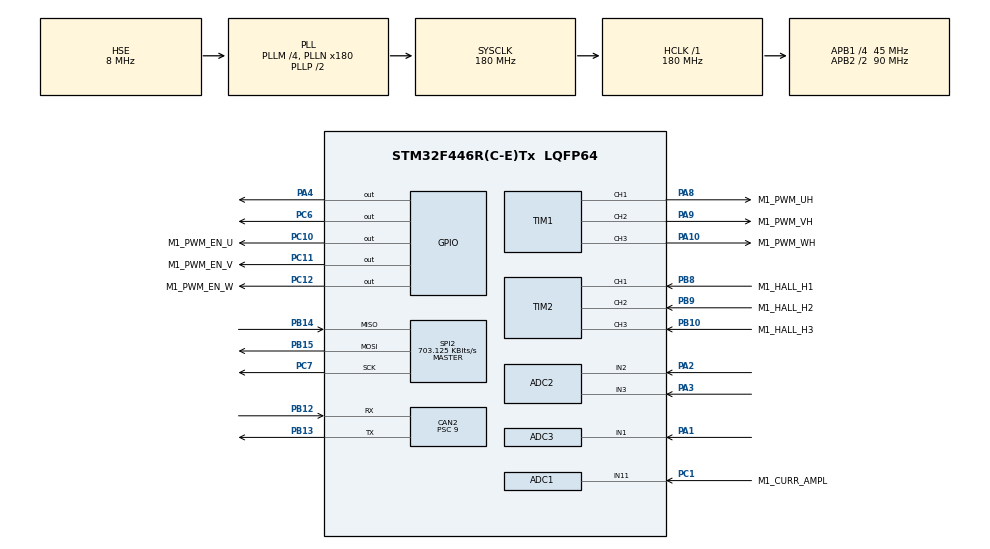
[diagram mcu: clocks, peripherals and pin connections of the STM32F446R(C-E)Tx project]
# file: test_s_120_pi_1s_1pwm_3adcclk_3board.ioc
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ADC1.Channel-1\#ChannelInjectedConversion=ADC_CHANNEL_11
ADC1.Channel-1\#ChannelRegularConversion=ADC_CHANNEL_11
ADC1.Channel-2\#ChannelInjectedConversion=ADC_CHANNEL_11
ADC1.ClockPrescaler=ADC_CLOCK_SYNC_PCLK_DIV4
ADC1.ContinuousConvMode=DISABLE
ADC1.DMAContinuousRequests=DISABLE
ADC1.DataAlign=ADC_DATAALIGN_LEFT
ADC1.DiscontinuousConvMode=DISABLE
ADC1.EOCSelection=ADC_EOC_SINGLE_CONV
ADC1.EnableAnalogWatchDog=false
ADC1.EnableInjectedConversion=ENABLE
ADC1.EnableRegularConversion=ENABLE
ADC1.ExternalTrigConv=ADC_SOFTWARE_START
ADC1.ExternalTrigConvEdge=ADC_EXTERNALTRIGCONVEDGE_NONE
ADC1.ExternalTrigInjecConv=ADC_EXTERNALTRIGINJECCONV_T4_TRGO
ADC1.ExternalTrigInjecConvEdge=ADC_EXTERNALTRIGINJECCONVEDGE_RISING
ADC1.InjNumberOfConversion=2
ADC1.InjectedConvMode=Discontinuous
ADC1.InjectedOffset-1\#ChannelInjectedConversion=0
ADC1.InjectedOffset-2\#ChannelInjectedConversion=0
ADC1.InjectedRank-1\#ChannelInjectedConversion=1
ADC1.InjectedRank-2\#ChannelInjectedConversion=2
ADC1.NbrOfConversion=1
ADC1.NbrOfConversionFlag=1
ADC1.Rank-1\#ChannelRegularConversion=1
ADC1.Resolution=ADC_RESOLUTION_12B
ADC1.SamplingTime-1\#ChannelInjectedConversion=ADC_SAMPLETIME_3CYCLES
ADC1.SamplingTime-1\#ChannelRegularConversion=ADC_SAMPLETIME_3CYCLES
ADC1.SamplingTime-2\#ChannelInjectedConversion=ADC_SAMPLETIME_3CYCLES
ADC1.ScanConvMode=ENABLE
ADC1.master=1
ADC2.Channel-0\#ChannelRegularConversion=ADC_CHANNEL_2
ADC2.Channel-1\#ChannelRegularConversion=ADC_CHANNEL_3
ADC2.NbrOfConversion=2
ADC2.NbrOfConversionFlag=1
ADC2.Rank-0\#ChannelRegularConversion=1
ADC2.Rank-1\#ChannelRegularConversion=2
ADC2.SamplingTime-0\#ChannelRegularConversion=ADC_SAMPLETIME_56CYCLES
ADC2.SamplingTime-1\#ChannelRegularConversion=ADC_SAMPLETIME_56CYCLES
ADC3.Channel-0\#ChannelRegularConversion=ADC_CHANNEL_1
ADC3.DataAlign=ADC_DATAALIGN_LEFT
ADC3.NbrOfConversionFlag=1
ADC3.Rank-0\#ChannelRegularConversion=1
ADC3.SamplingTime-0\#ChannelRegularConversion=ADC_SAMPLETIME_28CYCLES
ADC3.ScanConvMode=ENABLE
CAN2.BS1=CAN_BS1_14TQ
CAN2.BS2=CAN_BS2_5TQ
CAN2.CalculateBaudRate=250000
CAN2.CalculateTimeBit=4000
CAN2.CalculateTimeQuantum=200.0
CAN2.NART=ENABLE
CAN2.Prescaler=9
Dma.Request0=TIM1_CH4/TRIG/COM
Dma.Request1=TIM1_UP
Dma.TIM1_CH4/TRIG/COM.0.Direction=DMA_MEMORY_TO_PERIPH
Dma.TIM1_CH4/TRIG/COM.0.FIFOMode=DMA_FIFOMODE_DISABLE
Dma.TIM1_CH4/TRIG/COM.0.Instance=DMA2_Stream4
Dma.TIM1_CH4/TRIG/COM.0.MemDataAlignment=DMA_MDATAALIGN_HALFWORD
Dma.TIM1_CH4/TRIG/COM.0.MemInc=DMA_MINC_ENABLE
Dma.TIM1_CH4/TRIG/COM.0.Mode=DMA_CIRCULAR
Dma.TIM1_CH4/TRIG/COM.0.PeriphDataAlignment=DMA_PDATAALIGN_HALFWORD
Dma.TIM1_CH4/TRIG/COM.0.PeriphInc=DMA_PINC_DISABLE
Dma.TIM1_CH4/TRIG/COM.0.Priority=DMA_PRIORITY_HIGH
Dma.TIM1_UP.1.Direction=DMA_MEMORY_TO_PERIPH
Dma.TIM1_UP.1.FIFOMode=DMA_FIFOMODE_DISABLE
Dma.TIM1_UP.1.Instance=DMA2_Stream5
Dma.TIM1_UP.1.MemDataAlignment=DMA_MDATAALIGN_HALFWORD
Dma.TIM1_UP.1.MemInc=DMA_MINC_ENABLE
Dma.TIM1_UP.1.Mode=DMA_CIRCULAR
Dma.TIM1_UP.1.PeriphDataAlignment=DMA_PDATAALIGN_HALFWORD
Dma.TIM1_UP.1.PeriphInc=DMA_PINC_DISABLE
Dma.TIM1_UP.1.Priority=DMA_PRIORITY_HIGH
ExtraMW=MotorControl
ExtraMW.MotorControl.Config=MotorControl
ExtraMW.MotorControl.Mode=MotorControl
ExtraMW.MotorControl.Root=MCSDK_v6.3.2-Full/MotorControl
ExtraMW.MotorControl.Template=templates
Mcu.Family=STM32F4
Mcu.Name=STM32F446R(C-E)Tx
Mcu.Package=LQFP64
MotorControl.ADC_AHBPERIPH=RCC_AHBPeriph_ADC1
MotorControl.ADC_CLOCK_WB_DIV=1
MotorControl.ADC_PERIPH=ADC1
MotorControl.ADC_REFERENCE_VOLTAGE=3.3
MotorControl.BOARD=NUCLEO-F446RE
MotorControl.BUS_VOLTAGE_READING=false
MotorControl.CCMRAM_ENABLED=false
MotorControl.CLOCK_FREQUENCY=CPU_CLK_180_MHZ
MotorControl.CLOCK_SOURCE=EXTERNAL
MotorControl.CPU_CLK_180_MHZ=true
MotorControl.CTLBOARD_NAME=NUCLEO-F446RE
MotorControl.CUBE_MX_VER=6.14.0
MotorControl.CURRENT_READING_TOPOLOGY=SINGLE_SHUNT
MotorControl.CURR_SAMPLING_TIME=3
MotorControl.DBG_MCU_LOAD_MEASURE=false
MotorControl.DEBUG_DAC_FUNCTIONALITY_EN=false
MotorControl.DRIVES_NUMBER_SELECTION=SINGLEDRIVE
MotorControl.DRIVE_NUMBER=1
MotorControl.DRIVE_TYPE=FOC
MotorControl.ENCODER_AVAILABLE=false
MotorControl.ENCODER_PPR=400
MotorControl.EXT_CLK_8_MHZ=true
MotorControl.EXT_CLOCK_FREQUENCY=EXT_CLK_8_MHZ
MotorControl.FEEDBACK_NET_FILTERING=false
MotorControl.FLASH_SIZE=512
MotorControl.H1_GPIO_PIN=LL_GPIO_PIN_15
MotorControl.H1_GPIO_PORT=GPIOA
MotorControl.H2_GPIO_PIN=LL_GPIO_PIN_3
MotorControl.H2_GPIO_PORT=GPIOB
MotorControl.H3_GPIO_PIN=LL_GPIO_PIN_10
MotorControl.H3_GPIO_PORT=GPIOB
MotorControl.HALL_ICx_FILTER=126
MotorControl.HALL_SENSORS=true
MotorControl.HALL_SENSORS_AVAILABLE=true
MotorControl.HALL_TIMER_SELECTION=HALL_TIM2
MotorControl.HIGH_SIDE_IDLE_STATE=false
MotorControl.HWV_CS=SingleShunt_AmplifiedCurrents
MotorControl.HWV_PWM=DrivingHighSidesAndThreeEnables
MotorControl.HW_COMPLEMENTED_LOW_SIDE=true
MotorControl.HW_DEAD_TIME_NS=1000
MotorControl.IPs=NVIC,RCC,SYS,MotorControl,ADC1,TIM1,TIM2,DMA
MotorControl.LOW_MEMORY_FOOTPRINT_REG=false
MotorControl.LOW_SIDE_IDLE_STATE=false
MotorControl.LOW_SIDE_SIGNALS_ENABLING=ES_GPIO
MotorControl.M1_AMPLIFICATION_GAIN=1.53
MotorControl.M1_ANGC={0,0,0,0,0,0,0,0}
MotorControl.M1_AUXILIARY_SPEED_SENSOR=NONE
MotorControl.M1_BOARD_MAX_CURRENT=1.4
MotorControl.M1_BUS_VOLTAGE_READING=false
MotorControl.M1_COMMUTATION_STEP_TIME_BUF_SIZE=12
MotorControl.M1_CONSTANT1_D=13418
MotorControl.M1_CONSTANT1_Q=13418
MotorControl.M1_CONSTANT2_QD=28405
MotorControl.M1_CS_ADC_NUM=1
MotorControl.M1_CS_ADC_PHASE_SHARED=NONE
MotorControl.M1_CS_ADC_U=ADC1
MotorControl.M1_CS_CHANNEL_U=11
MotorControl.M1_CURRENT_AMPLIFICATION_TOPO=EXTERNAL
MotorControl.M1_CURRENT_SENSING_TOPO=SINGLE_SHUNT_PHASE_SHIFT
MotorControl.M1_CURR_SAMPLING_TIME=3
MotorControl.M1_DBG_OPEN_LOOP_ENABLE=false
MotorControl.M1_DC_CURRENT_RS_MEAS=1.4
MotorControl.M1_DEFAULT_CONTROL_MODE=STC_SPEED_MODE
MotorControl.M1_DEFAULT_FLUX_COMPONENT=0
MotorControl.M1_DEFAULT_TARGET_SPEED_RPM=1440
MotorControl.M1_DEFAULT_TORQUE_COMPONENT=0.85
MotorControl.M1_DISCONTINUOUS_PWM=false
MotorControl.M1_DP_TOPOLOGY=NONE
MotorControl.M1_DRIVE_TYPE=FOC
MotorControl.M1_ENCODER_PPR=400
MotorControl.M1_FEED_FORWARD_CURRENT_REG_ENABLING=false
MotorControl.M1_FLUX_WEAKENING_ENABLING=false
MotorControl.M1_FW_KIDIV=32768
MotorControl.M1_FW_KI_GAIN=5000
MotorControl.M1_FW_KPDIV=32768
MotorControl.M1_FW_KP_GAIN=3000
MotorControl.M1_FW_VOLTAGE_REF=985
MotorControl.M1_HALL_AVERAGING_FIFO_DEPTH=16
MotorControl.M1_HALL_ICx_FILTER=126
MotorControl.M1_HALL_MTPA=false
MotorControl.M1_HALL_PHASE_SHIFT=120
MotorControl.M1_HALL_SENSORS_PLACEMENT=DEGREES_120
MotorControl.M1_HALL_TIMER_IRQ=TIM2
MotorControl.M1_HALL_TIMER_SELECTION=HALL_TIM2
MotorControl.M1_HIGH_SIDE_IDLE_STATE=false
MotorControl.M1_HW_DEAD_TIME_NS=1000
MotorControl.M1_ICL_ENABLED=false
MotorControl.M1_ID_DEMAG=-1.4
MotorControl.M1_IQMAX=1.4
MotorControl.M1_LDLQ_RATIO=1.000
MotorControl.M1_LOW_SIDE_IDLE_STATE=false
MotorControl.M1_LOW_SIDE_SIGNALS_ENABLING=ES_GPIO
MotorControl.M1_LS=0.000126
MotorControl.M1_MAX_APPLICATION_SPEED=6200
MotorControl.M1_MAX_MODULATION_INDEX=94
MotorControl.M1_MIN_APPLICATION_SPEED=0
MotorControl.M1_MOTOR_MAX_SPEED_RPM=6200
MotorControl.M1_MOTOR_NAME=Shinano LA052-080E3NL1
MotorControl.M1_MOTOR_RATED_FLUX=0.043870361
MotorControl.M1_MOTOR_VOLTAGE_CONSTANT=1.8
MotorControl.M1_MTPA_ENABLING=false
MotorControl.M1_NOMINAL_BUS_VOLTAGE_V=24
MotorControl.M1_NOMINAL_CURRENT=1.4
MotorControl.M1_OCP_TOPOLOGY=NONE
MotorControl.M1_OFST={0,0,0,0,0,0,0,0}
MotorControl.M1_OVERMODULATION=false
MotorControl.M1_PID_FLUX_KD_DEFAULT=100
MotorControl.M1_PID_FLUX_KI_DEFAULT=175
MotorControl.M1_PID_FLUX_KP_DEFAULT=2500
MotorControl.M1_PID_SPEED_KD_DEFAULT=0
MotorControl.M1_PID_SPEED_KI_DEFAULT=100
MotorControl.M1_PID_SPEED_KP_DEFAULT=50
MotorControl.M1_PID_TORQUE_KD_DEFAULT=100
MotorControl.M1_PID_TORQUE_KI_DEFAULT=175
MotorControl.M1_PID_TORQUE_KP_DEFAULT=2500
MotorControl.M1_POLE_PAIR_NUM=2
MotorControl.M1_POSITION_CTRL_ENABLING=false
MotorControl.M1_POTENTIOMETER_ENABLE=false
MotorControl.M1_POWERBOARD_NAME=X-NUCLEO-IHM07M1
MotorControl.M1_PWM_CHARGE_BOOT_CAP_DUTY_CYCLES=0.000
MotorControl.M1_PWM_CHARGE_BOOT_CAP_MS=10
MotorControl.M1_PWM_DRIVER_PN=L6230
MotorControl.M1_PWM_FREQUENCY=20000
MotorControl.M1_PWM_TIMER_BRK_IRQ=TIM1_BRK_TIM9
MotorControl.M1_PWM_TIMER_SELECTION=PWM_TIM1
MotorControl.M1_PWM_TIMER_UP_IRQ=TIM1_UP_TIM10
MotorControl.M1_REGULATION_EXECUTION_RATE=1
MotorControl.M1_RS=3.02
MotorControl.M1_RSHUNT=0.33
MotorControl.M1_SEGDIV=0
MotorControl.M1_SHARED_SIGNAL_ENABLE=false
MotorControl.M1_SPD_DIFFERENTIAL_TERM_ENABLING=false
MotorControl.M1_SPEED_LOOP_FREQUENCY_HZ=1000
MotorControl.M1_SPEED_SENSOR=HALL_SENSOR
MotorControl.M1_SP_KDDIV=16
MotorControl.M1_SP_KIDIV=1024
MotorControl.M1_SP_KPDIV=4
MotorControl.M1_SS_MEAS_ERRORS_BEFORE_FAULTS=3
MotorControl.M1_SW_DEADTIME_NS=1000
MotorControl.M1_TEMPERATURE_READING=false
MotorControl.M1_TF_KDDIV=8192
MotorControl.M1_TF_KIDIV=4096
MotorControl.M1_TF_KPDIV=16384
MotorControl.M1_TNOISE_NS=700
MotorControl.M1_TRISE_NS=1800
MotorControl.M1_USE_INTERNAL_OPAMP=false
MotorControl.MAX_READABLE_CURRENT=3.272
MotorControl.MCP_EN=false
MotorControl.MCU=STM32F446RE
MotorControl.MCU_FAMILY=STM32F4
MotorControl.MCU_LINE=STM32F446
MotorControl.MCU_NAME=STM32F446R(C-E)Tx
MotorControl.MCU_PACKAGE=LQFP64
MotorControl.MCU_TYPE=STM32F446RE
MotorControl.MCU_USERNAME=STM32F446RETx
MotorControl.MC_WORKBENCH_VERSION=6.3.2
MotorControl.MOTOR_PROFILER=false
MotorControl.MOTOR_TYPE=PMSM
MotorControl.PHASE_CURRENTS_ADC=ADC1
MotorControl.PHASE_CURRENTS_CHANNEL=ADC_CHANNEL_11
MotorControl.PHASE_CURRENTS_GPIO_PIN=LL_GPIO_PIN_1
MotorControl.PHASE_CURRENTS_GPIO_PORT=GPIOC
MotorControl.PHASE_UH_GPIO_PIN=LL_GPIO_PIN_8
MotorControl.PHASE_UH_GPIO_PORT=GPIOA
MotorControl.PHASE_UH_POLARITY=H_ACTIVE_HIGH
MotorControl.PHASE_UL_GPIO_PIN=LL_GPIO_PIN_10
MotorControl.PHASE_UL_GPIO_PORT=GPIOC
MotorControl.PHASE_UL_POLARITY=L_ACTIVE_HIGH
MotorControl.PHASE_U_PWM_CHANNEL=TIM_Channel_1
MotorControl.PHASE_VH_GPIO_PIN=LL_GPIO_PIN_9
MotorControl.PHASE_VH_GPIO_PORT=GPIOA
MotorControl.PHASE_VH_POLARITY=H_ACTIVE_HIGH
MotorControl.PHASE_VL_GPIO_PIN=LL_GPIO_PIN_11
MotorControl.PHASE_VL_GPIO_PORT=GPIOC
MotorControl.PHASE_VL_POLARITY=L_ACTIVE_HIGH
MotorControl.PHASE_V_PWM_CHANNEL=TIM_Channel_2
MotorControl.PHASE_WH_GPIO_PIN=LL_GPIO_PIN_10
MotorControl.PHASE_WH_GPIO_PORT=GPIOA
MotorControl.PHASE_WH_POLARITY=H_ACTIVE_HIGH
MotorControl.PHASE_WL_GPIO_PIN=LL_GPIO_PIN_12
MotorControl.PHASE_WL_GPIO_PORT=GPIOC
MotorControl.PHASE_WL_POLARITY=L_ACTIVE_HIGH
MotorControl.PHASE_W_PWM_CHANNEL=TIM_Channel_3
MotorControl.POTENTIOMETER_READING=false
MotorControl.PWM_FREQUENCY=20000
MotorControl.PWM_TIMER_SELECTION=PWM_TIM1
MotorControl.REGULATION_EXECUTION_RATE=1
MotorControl.RTOS=NONE
MotorControl.SINGLEDRIVE=true
MotorControl.SINGLE_SHUNT=true
MotorControl.SPD_DIFFERENTIAL_TERM_ENABLING=false
MotorControl.SPEED_SENSOR_SELECTION=HALL_SENSORS
MotorControl.START_STOP_BTN=false
MotorControl.STM32F446RE=true
MotorControl.SW_DEADTIME_NS=1000
MotorControl.TEMPERATURE_READING=false
MotorControl.TFDIFFERENTIAL_TERM_ENABLING=false
MotorControl.TRISE_NS=1800
MotorControl.USE_3OPAMPS=false
MotorControl.USE_INTERNAL_OPAMP=false
MotorControl.WB_UI_CUTOFF_FREQUENCY=6000
MotorControl.WB_UI_ENCODER_HAS_INDEX_PIN=false
MotorControl.WB_UI_FLUX_TARGET=0
MotorControl.WB_UI_FRICTION=8
MotorControl.WB_UI_INERTIA=10
MotorControl.WB_UI_MAGNETIC_STRUCTURE=SM-PMSM
MotorControl.WB_UI_MAX_CURRENT=1.4
MotorControl.WB_UI_MAX_NOMINAL_DC_VOLTAGE=24
MotorControl.WB_UI_MAX_PWMFREQUENCY=100000
MotorControl.WB_UI_MOTOR_DESCRIPTION=Inner rotor type - 2 poles pairs - brushless DC motor with encoder
MotorControl.WB_UI_PW_BOARD_MAX_RATED_CURRENT=2.8
MotorControl.WB_UI_PW_BOARD_MAX_VOLTAGE=48
MotorControl.WB_UI_PW_BOARD_MIN_VOLTAGE=8
MotorControl.WB_UI_VPOL=1.559
MotorControl.WB_to_Mx_template_version=24-04-17
MotorControl.WB_to_Mx_version=6.2.3
NVIC.ADC_IRQn=true\:2\:0\:true\:true\:false\:3\:false\:true\:true
NVIC.CAN2_RX0_IRQn=true\:0\:0\:false\:true\:true\:7\:true\:true\:true
NVIC.DMA2_Stream4_IRQn=true\:0\:0\:true\:true\:false\:1\:true\:true\:true
NVIC.DMA2_Stream5_IRQn=true\:0\:0\:true\:true\:false\:2\:true\:true\:true
NVIC.PriorityGroup=NVIC_PRIORITYGROUP_3
NVIC.SPI2_IRQn=true\:0\:0\:false\:false\:true\:true\:true\:true
NVIC.TIM1_BRK_TIM9_IRQn=true\:4\:1\:false\:true\:false\:5\:true\:true\:true
NVIC.TIM1_UP_TIM10_IRQn=true\:0\:0\:false\:true\:false\:4\:true\:true\:true
NVIC.TIM2_IRQn=true\:3\:0\:false\:true\:false\:6\:true\:true\:true
NVIC.TIM6_DAC_IRQn=true\:0\:0\:false\:false\:true\:true\:true\:true
NVIC.TIM8_TRG_COM_TIM14_IRQn=true\:0\:0\:false\:false\:true\:true\:true\:true
PA1.Signal=ADCx_IN1
PA10.GPIO_Label=M1_PWM_WH
PA10.GPIO_PuPd=GPIO_PULLDOWN
PA10.GPIO_Speed=GPIO_SPEED_FREQ_HIGH
PA10.Signal=S_TIM1_CH3
PA13.Mode=Serial_Wire
PA13.Signal=SYS_JTMS-SWDIO
PA14.Mode=Serial_Wire
PA14.Signal=SYS_JTCK-SWCLK
PA2.Signal=ADCx_IN2
PA3.Signal=ADCx_IN3
PA4.GPIO_ModeDefaultOutputPP=GPIO_MODE_OUTPUT_OD
PA4.GPIO_PuPd=GPIO_NOPULL
PA4.Signal=GPIO_Output
PA8.GPIO_Label=M1_PWM_UH
PA8.GPIO_PuPd=GPIO_PULLDOWN
PA8.GPIO_Speed=GPIO_SPEED_FREQ_HIGH
PA8.Signal=S_TIM1_CH1
PA9.GPIO_Label=M1_PWM_VH
PA9.GPIO_PuPd=GPIO_PULLDOWN
PA9.GPIO_Speed=GPIO_SPEED_FREQ_HIGH
PA9.Signal=S_TIM1_CH2
PB10.GPIO_Label=M1_HALL_H3
PB10.GPIO_Speed=GPIO_SPEED_FREQ_HIGH
PB10.Signal=S_TIM2_CH3
PB12.Mode=CAN_Activate
PB12.Signal=CAN2_RX
PB13.Mode=CAN_Activate
PB13.Signal=CAN2_TX
PB14.Mode=Full_Duplex_Master
PB14.Signal=SPI2_MISO
PB15.Mode=Full_Duplex_Master
PB15.Signal=SPI2_MOSI
PB8.GPIO_Label=M1_HALL_H1
PB8.GPIO_Speed=GPIO_SPEED_FREQ_HIGH
PB8.Signal=S_TIM2_CH1_ETR
PB9.GPIO_Label=M1_HALL_H2
PB9.GPIO_Speed=GPIO_SPEED_FREQ_HIGH
PB9.Signal=S_TIM2_CH2
PC1.GPIO_Label=M1_CURR_AMPL
PC1.Signal=SharedAnalog_PC1
PC10.GPIO_Label=M1_PWM_EN_U
PC10.GPIO_PuPd=GPIO_PULLDOWN
PC10.GPIO_Speed=GPIO_SPEED_FREQ_HIGH
PC10.Signal=GPIO_Output
PC11.GPIO_Label=M1_PWM_EN_V
PC11.GPIO_PuPd=GPIO_PULLDOWN
PC11.GPIO_Speed=GPIO_SPEED_FREQ_HIGH
PC11.Signal=GPIO_Output
PC12.GPIO_Label=M1_PWM_EN_W
PC12.GPIO_PuPd=GPIO_PULLDOWN
PC12.GPIO_Speed=GPIO_SPEED_FREQ_HIGH
PC12.Signal=GPIO_Output
PC14-OSC32_IN.Mode=LSE-External-Oscillator
PC14-OSC32_IN.Signal=RCC_OSC32_IN
PC15-OSC32_OUT.Mode=LSE-External-Oscillator
PC15-OSC32_OUT.Signal=RCC_OSC32_OUT
PC6.Signal=GPIO_Output
PC7.Mode=Full_Duplex_Master
PC7.Signal=SPI2_SCK
PH0-OSC_IN.Mode=HSE-External-Oscillator
PH0-OSC_IN.Signal=RCC_OSC_IN
PH1-OSC_OUT.Mode=HSE-External-Oscillator
PH1-OSC_OUT.Signal=RCC_OSC_OUT
ProjectManager.HeapSize=0x200
ProjectManager.StackSize=0x400
ProjectManager.TargetToolchain=STM32CubeIDE
RCC.AHBFreq_Value=180000000
RCC.APB1CLKDivider=RCC_HCLK_DIV4
RCC.APB1Freq_Value=45000000
RCC.APB1TimFreq_Value=90000000
RCC.APB2CLKDivider=RCC_HCLK_DIV2
RCC.APB2Freq_Value=90000000
RCC.APB2TimFreq_Value=180000000
RCC.CortexFreq_Value=180000000
RCC.HCLKFreq_Value=180000000
RCC.HSE_VALUE=8000000
RCC.PLLM=4
RCC.PLLN=180
RCC.PLLSourceVirtual=RCC_PLLSOURCE_HSE
RCC.PREFETCH_ENABLE=1
RCC.SYSCLKFreq_VALUE=180000000
RCC.SYSCLKSource=RCC_SYSCLKSOURCE_PLLCLK
RCC.USBFreq_Value=180000000
RCC.VCOOutputFreq_Value=360000000
SH.ADCx_IN1.0=ADC3_IN1,IN1
SH.ADCx_IN2.0=ADC2_IN2,IN2
SH.ADCx_IN3.0=ADC2_IN3,IN3
SH.S_TIM1_CH1.0=TIM1_CH1,PWM Generation1 CH1
SH.S_TIM1_CH2.0=TIM1_CH2,PWM Generation2 CH2
SH.S_TIM1_CH3.0=TIM1_CH3,PWM Generation3 CH3
SH.S_TIM2_CH1_ETR.0=TIM2_CH1,Xored_Inputs_Hall_Sensor_Interface
SH.S_TIM2_CH2.0=TIM2_CH2,Xored_Inputs_Hall_Sensor_Interface
SH.S_TIM2_CH3.0=TIM2_CH3,Xored_Inputs_Hall_Sensor_Interface
SH.SharedAnalog_PC1.0=ADC1_IN11,IN11
SPI2.BaudRatePrescaler=SPI_BAUDRATEPRESCALER_64
SPI2.CLKPhase=SPI_PHASE_2EDGE
SPI2.CLKPolarity=SPI_POLARITY_HIGH
SPI2.CalculateBaudRate=703.125 KBits/s
SPI2.Direction=SPI_DIRECTION_2LINES
SPI2.Mode=SPI_MODE_MASTER
SPI2.VirtualType=VM_MASTER
TIM1.AutoReloadPreload=TIM_AUTORELOAD_PRELOAD_DISABLE
TIM1.AutomaticOutput=TIM_AUTOMATICOUTPUT_DISABLE
TIM1.BreakPolarity=TIM_BREAKPOLARITY_LOW
TIM1.BreakState=TIM_BREAK_DISABLE
TIM1.Channel-PWM\ Generation1\ CH1=TIM_CHANNEL_1
TIM1.Channel-PWM\ Generation2\ CH2=TIM_CHANNEL_2
TIM1.Channel-PWM\ Generation3\ CH3=TIM_CHANNEL_3
TIM1.Channel-PWM\ Generation4\ No\ Output=TIM_CHANNEL_4
TIM1.ClearInputSource=TIM_CLEARINPUTSOURCE_NONE
TIM1.ClockDivision=TIM_CLOCKDIVISION_DIV2
TIM1.CounterMode=TIM_COUNTERMODE_CENTERALIGNED2
TIM1.LockLevel=TIM_LOCKLEVEL_OFF
TIM1.OC1Preload_PWM=ENABLE
TIM1.OC2Preload_PWM=ENABLE
TIM1.OC3Preload_PWM=ENABLE
TIM1.OC4Preload_PWM=ENABLE
TIM1.OCIdleState_1=TIM_OCIDLESTATE_RESET
TIM1.OCIdleState_2=TIM_OCIDLESTATE_RESET
TIM1.OCIdleState_3=TIM_OCIDLESTATE_RESET
TIM1.OCIdleState_4=TIM_OCIDLESTATE_RESET
TIM1.OCMode_PWM-PWM\ Generation1\ CH1=TIM_OCMODE_PWM1
TIM1.OCMode_PWM-PWM\ Generation2\ CH2=TIM_OCMODE_PWM1
TIM1.OCMode_PWM-PWM\ Generation3\ CH3=TIM_OCMODE_PWM1
TIM1.OCMode_PWM-PWM\ Generation4\ No\ Output=TIM_OCMODE_PWM2
TIM1.OCPolarity_1=TIM_OCPOLARITY_HIGH
TIM1.OCPolarity_2=TIM_OCPOLARITY_HIGH
TIM1.OCPolarity_3=TIM_OCPOLARITY_HIGH
TIM1.OCPolarity_4=TIM_OCPOLARITY_HIGH
TIM1.OffStateIDLEMode=TIM_OSSI_ENABLE
TIM1.OffStateRunMode=TIM_OSSR_ENABLE
TIM1.Period=((PWM_PERIOD_CYCLES) / 2)
TIM1.Prescaler=((TIM_CLOCK_DIVIDER) - 1)
TIM1.Pulse-PWM\ Generation1\ CH1=((PWM_PERIOD_CYCLES) / 4)
TIM1.Pulse-PWM\ Generation2\ CH2=((PWM_PERIOD_CYCLES) / 4)
TIM1.Pulse-PWM\ Generation3\ CH3=((PWM_PERIOD_CYCLES) / 4)
TIM1.Pulse-PWM\ Generation4\ No\ Output=(((PWM_PERIOD_CYCLES) / 2) - (HTMIN))
TIM1.RepetitionCounter=(REP_COUNTER)
TIM1.TIM_MasterOutputTrigger=TIM_TRGO_UPDATE
TIM1.TIM_MasterSlaveMode=TIM_MASTERSLAVEMODE_DISABLE
TIM11.Period=500-1
TIM11.Prescaler=18-1
TIM14.Period=1000-1
TIM14.Prescaler=90-1
TIM2.IC1Filter=M1_HALL_IC_FILTER
TIM2.Period=M1_HALL_TIM_PERIOD
TIM6.Period=40000-1
TIM6.Prescaler=90-1
VP_MotorControl_MC_ENABLED.Mode=Enabled
VP_TIM11_VS_ClockSourceINT.Mode=Enable_Timer
VP_TIM14_VS_ClockSourceINT.Mode=Enable_Timer
VP_TIM1_VS_no_output4.Mode=PWM Generation4 No Output
VP_TIM2_VS_ClockSourceINT.Mode=Internal
VP_TIM6_VS_ClockSourceINT.Mode=Enable_Timer
board=custom

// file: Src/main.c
/* USER CODE BEGIN Header */
/**
  ******************************************************************************
  * @file           : main.c
  * @brief          : Main program body
  ******************************************************************************
  * @attention
  *
  * Copyright (c) 2025 STMicroelectronics.
  * All rights reserved.
  *
  * This software is licensed under terms that can be found in the LICENSE file
  * in the root directory of this software component.
  * If no LICENSE file comes with this software, it is provided AS-IS.
  *
  ******************************************************************************
  */
/* USER CODE END Header */
#include "main.h"
#include "mc_interface.h"  // MCI_Handle_t 정의 확인
#include "parameters_conversion.h"  // SDK 매개변수 변환
#include "speed_torq_ctrl.h"
#include "speed_pos_fdbk.h"
#include "mc_type.h"
#include "PID_controller.h"
#include "parameters_conversion.h"
#include "r1_ps_pwm_curr_fdbk.h"
//#include "sensing.h"

/* USER CODE BEGIN Includes */

#include "sensing.h"
#include "FLASH_MEMORY.h"

#include "CAN.h"
/* USER CODE END Includes */

/* USER CODE BEGIN PTD */
int RESET_ON;
/* USER CODE END PTD */

ADC_HandleTypeDef hadc1;
ADC_HandleTypeDef hadc2;
ADC_HandleTypeDef hadc3;
DMA_HandleTypeDef hdma_adc2;

CAN_HandleTypeDef hcan2;

SPI_HandleTypeDef hspi2;

TIM_HandleTypeDef htim1;
TIM_HandleTypeDef htim2;
TIM_HandleTypeDef htim6;
TIM_HandleTypeDef htim11;
TIM_HandleTypeDef htim14;
DMA_HandleTypeDef hdma_tim1_ch4_trig_com;
DMA_HandleTypeDef hdma_tim1_up;

/* USER CODE BEGIN PV */
volatile uint32_t timer_cc = 0;  // 타이머 카운터 변수
volatile uint32_t timer_cc_speed = 0;  // 타이머 카운터 변수
volatile float speed_ref_user=500;
volatile float speed_ref_user_MAX=6100;
volatile int32_t speed_ref_user1=0;
volatile float Mode=0;
volatile int Position_control=0;
volatile float torque_ref_user=90000;
volatile float torque_ref_user1=0;
volatile int operation=0;

volatile float Default_torque=1.0;
volatile int32_t Default_torque_int;
volatile float Current_Speed=0;
volatile float Current_Power=0;
volatile int Current_state;
volatile uint16_t Current_error;
volatile float temp_cc=0;
qd_f_t IqdRef_a = { .d = 0.0f, .q = 1.5f };  //
volatile MC_ControlMode_t Current_ControlMode; // 제어 모드 저장 변수
uint8_t SPI_DATA[2];
float current_adc1;
float current_adc2;
float current_adc3;
int error_occ1=0;
int error_hocc1[20]={0};
int temp_ccccc=0;
int boot_flag=1;

extern R1_Params_t R1_ParamsM1;
extern ScaleParams_t scaleParams_M1;
extern int inposition;
extern int cc;

//float MOTOR_CW_CCW;

/* USER CODE END PV */

void SystemClock_Config(void);
static void MX_GPIO_Init(void);
static void MX_DMA_Init(void);
static void MX_ADC1_Init(void);
static void MX_ADC3_Init(void);
static void MX_TIM1_Init(void);
static void MX_TIM2_Init(void);
static void MX_CAN2_Init(void);
static void MX_SPI2_Init(void);
static void MX_TIM6_Init(void);
static void MX_TIM11_Init(void);
static void MX_TIM14_Init(void);
static void MX_ADC2_Init(void);
static void MX_NVIC_Init(void);
static void Speed_ref_cal(void);
static void Torque_ref_cal(void);

void FLASH_MEMORY(void);
void FLASH_MEMORY_SETTING(void);
void POSITION_sensing(void);
void FFT_Init(void);

int main(void)
{

  /* MCU Configuration--------------------------------------------------------*/

  /* Reset of all peripherals, Initializes the Flash interface and the Systick. */
  HAL_Init();

  /* Configure the system clock */
  SystemClock_Config();

  /* USER CODE BEGIN SysInit */
  HAL_FLASH_Unlock();
  	FLASH_MEMORY();
  	HAL_FLASH_Lock();
  /* USER CODE END SysInit */

  /* Initialize all configured peripherals */
  MX_GPIO_Init();
  MX_DMA_Init();
  MX_ADC1_Init();
  MX_ADC3_Init();
  MX_TIM1_Init();
  MX_TIM2_Init();
  MX_MotorControl_Init();
  MX_CAN2_Init();
  MX_SPI2_Init();
  MX_TIM6_Init();
  MX_TIM11_Init();
  MX_TIM14_Init();
  MX_ADC2_Init();

  /* Initialize interrupts */
  MX_NVIC_Init();
  FFT_Init();
  /* USER CODE BEGIN 2 */
  HAL_TIM_Base_Start_IT(&htim6);
    //HAL_TIM_Base_Start_IT(&htim11); //?��류제?��
  HAL_TIM_Base_Start_IT(&htim14); // SPI ?��?�� ?��치수?��
  HAL_SPI_Receive_IT(&hspi2,SPI_DATA,2);//바이?�� 2->1
  HAL_ADC_Start_DMA(&hadc2, ADC_DMA_Buffer_VOLT_HUMID_TEMP, 3);
  //PID_Init(&Position_PID, 50,0.05,0.2,179.9,-179.9,0.2);//tune @ 4000//d 2 p24.615   p13
  PID_Init(&Position_PID, 50,2,2.4,179.9,-179.9,0.2);
	PID_Init(&Speed_PID, 40,0.05,0.05,710,0,5);
	//PID_Init(&Position_PID, 1000,0.5,1,179.9,-179.9,0.2);
	PID_Init(&Position_PID, 500,0.5,0,179.9,-179.9,0.2);
  HAL_CAN_Start(&hcan2);
  CAN_SET();

//Position_control=2;
//operation=1;
//ECOMAC_Rx.VCU_RDY=1;

	/*
	PIDIqHandle_M1.hKpGain=100;
	PIDIqHandle_M1.hKiGain=1;
	PIDIqHandle_M1.hKpDivisor=4096;
	PIDIqHandle_M1.hKiDivisor=16384;
	PIDSpeedHandle_M1.hKiGain=50;
	PIDSpeedHandle_M1.hKpGain=500;
	PIDSpeedHandle_M1.hKiDivisor=4096;
	PIDSpeedHandle_M1.hKpDivisor=1024;
*/

	//PIDSpeedHandle_M1.hKiGain=5;
  //PIDSpeedHandle_M1.hKpGain=10;
  //speed_ref_user=4000;

  //SpeednTorqCtrl_Handle_t *pHandle;
  //pHandle = &Mci[1];  // MCSDK에서 제공하는 핸들 구조체 사용

  /* USER CODE END 2 */

  /* Infinite loop */
  while (1)
  {
	//  speed_ref_user=0;

	  if(boot_flag<1000)
	  boot_flag++;
     if(boot_flag<1000)
     {
	   POSITION_sensing();
	   Position_PID.CMD=CURRENT_POSITION;
     }
	  if(RESET_ON==1)
		  NVIC_SystemReset();

	  if(CAN2_Rx_Flag==1)
	  {
		CAN2_Rx_Flag=0;
		//임시 주석 test code _성산 vcc -> run시 해제 할것.
		parse_CAN_Data(CAN2_Rx0Data);
		Update_Control_Variable();
		ECOMAC_Tx_Data_Build();

		TxMailBox= HAL_CAN_GetTxMailboxesFreeLevel(&hcan2);
		HAL_CAN_AddTxMessage(&hcan2, &CAN2_TxHeader, &CAN2_Tx0Data[0], &TxMailBox);

	  }
	  Default_torque_int=Default_torque*32767;
	 PIDIqHandle_M1.hUpperOutputLimit=Default_torque_int;
	  PIDIqHandle_M1.hLowerOutputLimit=-Default_torque_int;
	  timer_cc_speed++;
 	  timer_cc++;
	  FLASH_MEMORY_SETTING();
	  /*
	  if(fabs(pwmcHandle[M1]->IaEst)<3000) pwmcHandle[M1]->IaEst=0;
	  if(fabs(pwmcHandle[M1]->IbEst)<3000) pwmcHandle[M1]->IbEst=0;
	  if(fabs(pwmcHandle[M1]->IcEst)<3000) pwmcHandle[M1]->IcEst=0;
	  current_adc1=pwmcHandle[M1]->IaEst*scaleParams_M1.current;

	  current_adc2=pwmcHandle[M1]->IbEst*scaleParams_M1.current;
	  current_adc3=pwmcHandle[M1]->IcEst*scaleParams_M1.current;
	  */
      //POSITION_sensing();
	 // if(timer_cc==100)

	  //MC_GetControlModeMotor1();
	  		//MC_GetCommandStateMotor1()
	//  {
	  	  	 Current_ControlMode = MC_GetControlModeMotor1();//제어 모드 읽기

	  	  	 Current_Speed=MC_GetAverageMecSpeedMotor1_F();
	 		 Current_Power=MC_GetAveragePowerMotor1_F();
	 		Current_state=Mci[0].State;
	 	     Current_error=MC_GetOccurredFaultsMotor1();
	 	    ECOMAC_Tx.TCU_Fault_Code=Current_error;
	 	 if(Current_error!=0 && error_occ1<=20)
	 		 {
	 		 MC_AcknowledgeFaultMotor1();

	 		error_hocc1[error_occ1]=Current_error;
	 		error_occ1++;

	 		  }

	 	   if(Current_error!=0 && error_occ1>=20 )
	 	   {
	 		  error_occ1++;
	 		  if(error_occ1>30000)
	 		  {
	 	     //NVIC_SystemReset(); /// error reset
	 		  MC_AcknowledgeFaultMotor1();
	 		  error_occ1=0;
	 		  }
	 	   }

		 if(operation==0)// && Mci[0].State== RUN)
			MC_StopMotor1();
		 if(operation==1)// && Mci[0].State== IDLE)
		 {
			MC_StartMotor1();
		 }

		if(Mode==3)
		{
			IqdRef_a.d =1.0f;
			IqdRef_a.q =0.0f;
			MC_SetCurrentReferenceMotor1_F(IqdRef_a);
			Mode=100;
		}

		if(operation==10)
		{
        MC_AcknowledgeFaultMotor1();
        error_occ1=0;
        //error_hocc1[20]={0};
		}
		 if(Mode==0)
          {
			// Default_torque=1.4;
			 if(Current_ControlMode!=MCM_SPEED_MODE)
        		  MCI_ExecSpeedRamp(&Mci[M1], 0, 0);

    		  Speed_ref_cal();
    		  Mci[0].pSTC->SpeedRefUnitExt = ((int32_t)speed_ref_user1);
          }

          if(Mode==1)
		   {
        	//  if(Current_ControlMode!=MCM_TORQUE_MODE)
        	  MC_SetCurrentReferenceMotor1_F(IqdRef_a);

        	 // MC_SetCurrentReferenceMotor1_F(IqdRef_a);

		   }

          if(Position_control==1)

          {
        	  Mode=99;

        	 if(cc==3) cc=1;
        	  if(Current_ControlMode!=MCM_TORQUE_MODE)
        	         	  {
        	 			  // MC_SetCurrentReferenceMotor1_F(IqdRef_a);
        	         	  }
        	  POSITION_CONTROLLER();
          }
         if(timer_cc>=10)
         {
          if(Position_control==2)

                  {
        	  if(cc==2) cc=1;
        	          Mode=5;
                	  if(Current_Power>0.2) Position_PID.Dead_Jone=0;
                	  else Position_PID.Dead_Jone=0.2;
                	  //if(Current_ControlMode!=MCM_SPEED_MODE)
                	 //  MCI_ExecSpeedRamp(&Mci[M1], 0, 0);
                	 /*  if(Current_Power<1 && inposition==1)
						 PID_Init(&Position_PID, 1000,0.5,,179.9,-179.9,0.2);
					 else
						PID_Init(&Position_PID, 1000,0.5,1,179.9,-179.9,0.2);*/
                	  POSITION_CONTROLLER_SPEED();
                  }
         timer_cc=0;
          }
          if(Mode==4)
          {
        	  temp_cc= MC_StartPolarizationOffsetsMeasurementMotor1();
        	  Mode=100;
          }
          if(Mode==5)
          {
        	  if(timer_cc_speed>=1)
        	  {
        	 // if(Current_ControlMode!=MCM_TORQUE_MODE)
        	 // {
			   MC_SetCurrentReferenceMotor1_F(IqdRef_a);
        	//  }
        	  if(Speed_PID.ABS_CMD<5000)
        	  Speed_PID.Kp=0.5;
        	  else

              Speed_PID.Kp=3;

        	  SPEED_CONTROLLER();
        	   timer_cc_speed=0;
        	  }
          }
	  }
}

void Speed_ref_cal(void)
{

	speed_ref_user1=((int32_t)((float)speed_ref_user/3))<<15;
	//speed_ref_user1++;
}
void Torque_ref_cal(void)
{

	torque_ref_user1=((int32_t)((float)torque_ref_user/3))<<15;
	//speed_ref_user1++;
}
void HAL_TIM_PeriodElapsedCallback(TIM_HandleTypeDef *htim)
{

	if (htim->Instance == TIM6)
	{
		temp_ccccc++;
		if(temp_ccccc==10)
		{
		HUMIDITY_sensing();
		BOARD_TEMP_sensing();
		INPUT_VOLTAGE_sensing();
		temp_ccccc=0;

		}

		/*
		if(Position_control==2)///test

			                  {
			        	  if(cc==2) cc=1;
			        	          Mode=5;
			                	  if(Current_Power>0.2) Position_PID.Dead_Jone=0;
			                	  else Position_PID.Dead_Jone=0.2;
			                	    	  POSITION_CONTROLLER_SPEED();

			                  }*/
	}

	if (htim->Instance == TIM14)//14
		  HAL_SPI_Receive_IT(&hspi2,SPI_DATA,2);

}

void HAL_SPI_RxCpltCallback(SPI_HandleTypeDef *hspi)
{
    if (hspi->Instance == SPI2)  //?��코더 ?��?�� 콜백?��?��
    {
    	POSITION_sensing();
	ECOMAC_Tx_Data_Build();
    }
}
void SystemClock_Config(void)
{
  RCC_OscInitTypeDef RCC_OscInitStruct = {0};
  RCC_ClkInitTypeDef RCC_ClkInitStruct = {0};

  /** Configure the main internal regulator output voltage
  */
  __HAL_RCC_PWR_CLK_ENABLE();
  __HAL_PWR_VOLTAGESCALING_CONFIG(PWR_REGULATOR_VOLTAGE_SCALE1);

  /** Initializes the RCC Oscillators according to the specified parameters
  * in the RCC_OscInitTypeDef structure.
  */
  RCC_OscInitStruct.OscillatorType = RCC_OSCILLATORTYPE_HSE;
  RCC_OscInitStruct.HSEState = RCC_HSE_ON;
  RCC_OscInitStruct.PLL.PLLState = RCC_PLL_ON;
  RCC_OscInitStruct.PLL.PLLSource = RCC_PLLSOURCE_HSE;
  RCC_OscInitStruct.PLL.PLLM = 4;
  RCC_OscInitStruct.PLL.PLLN = 180;
  RCC_OscInitStruct.PLL.PLLP = RCC_PLLP_DIV2;
  RCC_OscInitStruct.PLL.PLLQ = 2;
  RCC_OscInitStruct.PLL.PLLR = 2;
  if (HAL_RCC_OscConfig(&RCC_OscInitStruct) != HAL_OK)
  {
    Error_Handler();
  }

  /** Activate the Over-Drive mode
  */
  if (HAL_PWREx_EnableOverDrive() != HAL_OK)
  {
    Error_Handler();
  }

  /** Initializes the CPU, AHB and APB buses clocks
  */
  RCC_ClkInitStruct.ClockType = RCC_CLOCKTYPE_HCLK|RCC_CLOCKTYPE_SYSCLK
                              |RCC_CLOCKTYPE_PCLK1|RCC_CLOCKTYPE_PCLK2;
  RCC_ClkInitStruct.SYSCLKSource = RCC_SYSCLKSOURCE_PLLCLK;
  RCC_ClkInitStruct.AHBCLKDivider = RCC_SYSCLK_DIV1;
  RCC_ClkInitStruct.APB1CLKDivider = RCC_HCLK_DIV4;
  RCC_ClkInitStruct.APB2CLKDivider = RCC_HCLK_DIV2;

  if (HAL_RCC_ClockConfig(&RCC_ClkInitStruct, FLASH_LATENCY_5) != HAL_OK)
  {
    Error_Handler();
  }
}

/**
  * @brief NVIC Configuration.
  * @retval None
  */
static void MX_NVIC_Init(void)
{
  /* DMA2_Stream4_IRQn interrupt configuration */
  HAL_NVIC_SetPriority(DMA2_Stream4_IRQn, 0, 0);
  HAL_NVIC_EnableIRQ(DMA2_Stream4_IRQn);
  /* DMA2_Stream5_IRQn interrupt configuration */
  HAL_NVIC_SetPriority(DMA2_Stream5_IRQn, 0, 0);
  HAL_NVIC_EnableIRQ(DMA2_Stream5_IRQn);
  /* DMA1_Stream5_IRQn interrupt configuration */
  HAL_NVIC_SetPriority(DMA1_Stream5_IRQn, 3, 0);
  HAL_NVIC_EnableIRQ(DMA1_Stream5_IRQn);
  /* ADC_IRQn interrupt configuration */
  HAL_NVIC_SetPriority(ADC_IRQn, 2, 0);
  HAL_NVIC_EnableIRQ(ADC_IRQn);
  /* TIM1_UP_TIM10_IRQn interrupt configuration */
  HAL_NVIC_SetPriority(TIM1_UP_TIM10_IRQn, 0, 0);
  HAL_NVIC_EnableIRQ(TIM1_UP_TIM10_IRQn);
  /* TIM1_BRK_TIM9_IRQn interrupt configuration */
  HAL_NVIC_SetPriority(TIM1_BRK_TIM9_IRQn, 4, 1);
  HAL_NVIC_EnableIRQ(TIM1_BRK_TIM9_IRQn);
  /* TIM2_IRQn interrupt configuration */
  HAL_NVIC_SetPriority(TIM2_IRQn, 3, 0);
  HAL_NVIC_EnableIRQ(TIM2_IRQn);
  /* CAN2_RX0_IRQn interrupt configuration */
  HAL_NVIC_SetPriority(CAN2_RX0_IRQn, 0, 0);
  HAL_NVIC_EnableIRQ(CAN2_RX0_IRQn);
}

static void MX_ADC1_Init(void)
{

  ADC_InjectionConfTypeDef sConfigInjected = {0};
  ADC_ChannelConfTypeDef sConfig = {0};

  /** Configure the global features of the ADC (Clock, Resolution, Data Alignment and number of conversion)
  */
  hadc1.Instance = ADC1;
  hadc1.Init.ClockPrescaler = ADC_CLOCK_SYNC_PCLK_DIV4;
  hadc1.Init.Resolution = ADC_RESOLUTION_12B;
  hadc1.Init.ScanConvMode = ENABLE;
  hadc1.Init.ContinuousConvMode = DISABLE;
  hadc1.Init.DiscontinuousConvMode = DISABLE;
  hadc1.Init.ExternalTrigConvEdge = ADC_EXTERNALTRIGCONVEDGE_NONE;
  hadc1.Init.ExternalTrigConv = ADC_SOFTWARE_START;
  hadc1.Init.DataAlign = ADC_DATAALIGN_LEFT;
  hadc1.Init.NbrOfConversion = 1;
  hadc1.Init.DMAContinuousRequests = DISABLE;
  hadc1.Init.EOCSelection = ADC_EOC_SINGLE_CONV;
  if (HAL_ADC_Init(&hadc1) != HAL_OK)
  {
    Error_Handler();
  }

  /** Configures for the selected ADC injected channel its corresponding rank in the sequencer and its sample time
  */
  sConfigInjected.InjectedChannel = ADC_CHANNEL_11;
  sConfigInjected.InjectedRank = 1;
  sConfigInjected.InjectedNbrOfConversion = 2;
  sConfigInjected.InjectedSamplingTime = ADC_SAMPLETIME_3CYCLES;
  sConfigInjected.ExternalTrigInjecConvEdge = ADC_EXTERNALTRIGINJECCONVEDGE_RISING;
  sConfigInjected.ExternalTrigInjecConv = ADC_EXTERNALTRIGINJECCONV_T4_TRGO;
  sConfigInjected.AutoInjectedConv = DISABLE;
  sConfigInjected.InjectedDiscontinuousConvMode = ENABLE;
  sConfigInjected.InjectedOffset = 0;
  if (HAL_ADCEx_InjectedConfigChannel(&hadc1, &sConfigInjected) != HAL_OK)
  {
    Error_Handler();
  }

  /** Configures for the selected ADC injected channel its corresponding rank in the sequencer and its sample time
  */
  sConfigInjected.InjectedRank = 2;
  if (HAL_ADCEx_InjectedConfigChannel(&hadc1, &sConfigInjected) != HAL_OK)
  {
    Error_Handler();
  }

  /** Configure for the selected ADC regular channel its corresponding rank in the sequencer and its sample time.
  */
  sConfig.Channel = ADC_CHANNEL_11;
  sConfig.Rank = 1;
  sConfig.SamplingTime = ADC_SAMPLETIME_3CYCLES;
  if (HAL_ADC_ConfigChannel(&hadc1, &sConfig) != HAL_OK)
  {
    Error_Handler();
  }

}

static void MX_ADC2_Init(void)
{

  ADC_ChannelConfTypeDef sConfig = {0};

  /** Configure the global features of the ADC (Clock, Resolution, Data Alignment and number of conversion)
  */
  hadc2.Instance = ADC2;
  hadc2.Init.ClockPrescaler = ADC_CLOCK_SYNC_PCLK_DIV4;
  hadc2.Init.Resolution = ADC_RESOLUTION_12B;
  hadc2.Init.ScanConvMode = ENABLE;
  hadc2.Init.ContinuousConvMode = ENABLE;
  hadc2.Init.DiscontinuousConvMode = DISABLE;
  hadc2.Init.ExternalTrigConvEdge = ADC_EXTERNALTRIGCONVEDGE_NONE;
  hadc2.Init.ExternalTrigConv = ADC_SOFTWARE_START;
  hadc2.Init.DataAlign = ADC_DATAALIGN_RIGHT;
  hadc2.Init.NbrOfConversion = 3;
  hadc2.Init.DMAContinuousRequests = ENABLE;
  hadc2.Init.EOCSelection = ADC_EOC_SINGLE_CONV;
  if (HAL_ADC_Init(&hadc2) != HAL_OK)
  {
    Error_Handler();
  }

  /** Configure for the selected ADC regular channel its corresponding rank in the sequencer and its sample time.
  */
  sConfig.Channel = ADC_CHANNEL_2;
  sConfig.Rank = 1;
  sConfig.SamplingTime = ADC_SAMPLETIME_56CYCLES;
  if (HAL_ADC_ConfigChannel(&hadc2, &sConfig) != HAL_OK)
  {
    Error_Handler();
  }

  /** Configure for the selected ADC regular channel its corresponding rank in the sequencer and its sample time.
  */
  sConfig.Channel = ADC_CHANNEL_3;
  sConfig.Rank = 2;
  if (HAL_ADC_ConfigChannel(&hadc2, &sConfig) != HAL_OK)
  {
    Error_Handler();
  }

  /** Configure for the selected ADC regular channel its corresponding rank in the sequencer and its sample time.
  */
  sConfig.Channel = ADC_CHANNEL_12;
  sConfig.Rank = 3;
  if (HAL_ADC_ConfigChannel(&hadc2, &sConfig) != HAL_OK)
  {
    Error_Handler();
  }

}

static void MX_ADC3_Init(void)
{

  ADC_ChannelConfTypeDef sConfig = {0};

  /** Configure the global features of the ADC (Clock, Resolution, Data Alignment and number of conversion)
  */
  hadc3.Instance = ADC3;
  hadc3.Init.ClockPrescaler = ADC_CLOCK_SYNC_PCLK_DIV4;
  hadc3.Init.Resolution = ADC_RESOLUTION_12B;
  hadc3.Init.ScanConvMode = ENABLE;
  hadc3.Init.ContinuousConvMode = DISABLE;
  hadc3.Init.DiscontinuousConvMode = DISABLE;
  hadc3.Init.ExternalTrigConvEdge = ADC_EXTERNALTRIGCONVEDGE_NONE;
  hadc3.Init.ExternalTrigConv = ADC_SOFTWARE_START;
  hadc3.Init.DataAlign = ADC_DATAALIGN_LEFT;
  hadc3.Init.NbrOfConversion = 1;
  hadc3.Init.DMAContinuousRequests = DISABLE;
  hadc3.Init.EOCSelection = ADC_EOC_SINGLE_CONV;
  if (HAL_ADC_Init(&hadc3) != HAL_OK)
  {
    Error_Handler();
  }

  /** Configure for the selected ADC regular channel its corresponding rank in the sequencer and its sample time.
  */
  sConfig.Channel = ADC_CHANNEL_1;
  sConfig.Rank = 1;
  sConfig.SamplingTime = ADC_SAMPLETIME_28CYCLES;
  sConfig.Offset = 0;

  if (HAL_ADC_ConfigChannel(&hadc3, &sConfig) != HAL_OK)
  {
    Error_Handler();
  }

}

static void MX_CAN2_Init(void)
{

  /* USER CODE BEGIN CAN2_Init 1 */
	hcan2.Instance = CAN2;
	hcan2.Init.Prescaler = 9;              // 분주기
	hcan2.Init.Mode = CAN_MODE_NORMAL;
	hcan2.Init.SyncJumpWidth = CAN_SJW_1TQ; // SJW
	hcan2.Init.TimeSeg1 = CAN_BS1_14TQ;     // BS1
	hcan2.Init.TimeSeg2 = CAN_BS2_5TQ;      // BS2
	hcan2.Init.AutoRetransmission = ENABLE;
	hcan2.Init.AutoBusOff = ENABLE;         // 자동 버스오프 복구 옵션 추가 //2026_0119 추가

  /* USER CODE END CAN2_Init 1 */
  /*hcan2.Instance = CAN2;
  hcan2.Init.Prescaler = 9;
  hcan2.Init.Mode = CAN_MODE_NORMAL;
  hcan2.Init.SyncJumpWidth = CAN_SJW_1TQ;
  hcan2.Init.TimeSeg1 = CAN_BS1_14TQ;
  hcan2.Init.TimeSeg2 = CAN_BS2_5TQ;
  hcan2.Init.TimeTriggeredMode = DISABLE;
  hcan2.Init.AutoBusOff = DISABLE;
  hcan2.Init.AutoWakeUp = DISABLE;
  hcan2.Init.AutoRetransmission = ENABLE;
  hcan2.Init.ReceiveFifoLocked = DISABLE;
  hcan2.Init.TransmitFifoPriority = DISABLE;*/
  if (HAL_CAN_Init(&hcan2) != HAL_OK)
  {
    Error_Handler();
  }

}

static void MX_SPI2_Init(void)
{

  /* SPI2 parameter configuration*/
  hspi2.Instance = SPI2;
  hspi2.Init.Mode = SPI_MODE_MASTER;
  hspi2.Init.Direction = SPI_DIRECTION_2LINES;
  hspi2.Init.DataSize = SPI_DATASIZE_8BIT;
  hspi2.Init.CLKPolarity = SPI_POLARITY_HIGH;
  hspi2.Init.CLKPhase = SPI_PHASE_2EDGE;
  hspi2.Init.NSS = SPI_NSS_SOFT;
  hspi2.Init.BaudRatePrescaler = SPI_BAUDRATEPRESCALER_16;
  hspi2.Init.FirstBit = SPI_FIRSTBIT_MSB;
  hspi2.Init.TIMode = SPI_TIMODE_DISABLE;
  hspi2.Init.CRCCalculation = SPI_CRCCALCULATION_DISABLE;
  hspi2.Init.CRCPolynomial = 10;
  if (HAL_SPI_Init(&hspi2) != HAL_OK)
  {
    Error_Handler();
  }

}

static void MX_TIM1_Init(void)
{

  TIM_MasterConfigTypeDef sMasterConfig = {0};
  TIM_OC_InitTypeDef sConfigOC = {0};
  TIM_BreakDeadTimeConfigTypeDef sBreakDeadTimeConfig = {0};

  htim1.Instance = TIM1;
  htim1.Init.Prescaler = ((TIM_CLOCK_DIVIDER) - 1);
  htim1.Init.CounterMode = TIM_COUNTERMODE_CENTERALIGNED2;
  htim1.Init.Period = ((PWM_PERIOD_CYCLES) / 2);
  htim1.Init.ClockDivision = TIM_CLOCKDIVISION_DIV2;
  htim1.Init.RepetitionCounter = (REP_COUNTER);
  htim1.Init.AutoReloadPreload = TIM_AUTORELOAD_PRELOAD_DISABLE;
  if (HAL_TIM_PWM_Init(&htim1) != HAL_OK)
  {
    Error_Handler();
  }
  sMasterConfig.MasterOutputTrigger = TIM_TRGO_UPDATE;
  sMasterConfig.MasterSlaveMode = TIM_MASTERSLAVEMODE_DISABLE;
  if (HAL_TIMEx_MasterConfigSynchronization(&htim1, &sMasterConfig) != HAL_OK)
  {
    Error_Handler();
  }
  sConfigOC.OCMode = TIM_OCMODE_PWM1;
  sConfigOC.Pulse = ((PWM_PERIOD_CYCLES) / 4);
  sConfigOC.OCPolarity = TIM_OCPOLARITY_HIGH;
  sConfigOC.OCNPolarity = TIM_OCNPOLARITY_HIGH;
  sConfigOC.OCFastMode = TIM_OCFAST_DISABLE;
  sConfigOC.OCIdleState = TIM_OCIDLESTATE_RESET;
  sConfigOC.OCNIdleState = TIM_OCNIDLESTATE_RESET;
  if (HAL_TIM_PWM_ConfigChannel(&htim1, &sConfigOC, TIM_CHANNEL_1) != HAL_OK)
  {
    Error_Handler();
  }
  if (HAL_TIM_PWM_ConfigChannel(&htim1, &sConfigOC, TIM_CHANNEL_2) != HAL_OK)
  {
    Error_Handler();
  }
  if (HAL_TIM_PWM_ConfigChannel(&htim1, &sConfigOC, TIM_CHANNEL_3) != HAL_OK)
  {
    Error_Handler();
  }
  sConfigOC.OCMode = TIM_OCMODE_PWM2;
  sConfigOC.Pulse = (((PWM_PERIOD_CYCLES) / 2) - (HTMIN));
  if (HAL_TIM_PWM_ConfigChannel(&htim1, &sConfigOC, TIM_CHANNEL_4) != HAL_OK)
  {
    Error_Handler();
  }
  //__HAL_TIM_ENABLE_OCxPRELOAD(&htim1, TIM_CHANNEL_4);
  sBreakDeadTimeConfig.OffStateRunMode = TIM_OSSR_ENABLE;
  sBreakDeadTimeConfig.OffStateIDLEMode = TIM_OSSI_ENABLE;
  sBreakDeadTimeConfig.LockLevel = TIM_LOCKLEVEL_OFF;
  sBreakDeadTimeConfig.DeadTime = 0;
  sBreakDeadTimeConfig.BreakState = TIM_BREAK_DISABLE;
  sBreakDeadTimeConfig.BreakPolarity = TIM_BREAKPOLARITY_LOW;
  sBreakDeadTimeConfig.AutomaticOutput = TIM_AUTOMATICOUTPUT_DISABLE;
  if (HAL_TIMEx_ConfigBreakDeadTime(&htim1, &sBreakDeadTimeConfig) != HAL_OK)
  {
    Error_Handler();
  }
  HAL_TIM_MspPostInit(&htim1);

}

static void MX_TIM2_Init(void)
{

  TIM_ClockConfigTypeDef sClockSourceConfig = {0};
  TIM_HallSensor_InitTypeDef sConfig = {0};
  TIM_MasterConfigTypeDef sMasterConfig = {0};

  htim2.Instance = TIM2;
  htim2.Init.Prescaler = 0;
  htim2.Init.CounterMode = TIM_COUNTERMODE_UP;
  htim2.Init.Period = M1_HALL_TIM_PERIOD;
  htim2.Init.ClockDivision = TIM_CLOCKDIVISION_DIV1;
  htim2.Init.AutoReloadPreload = TIM_AUTORELOAD_PRELOAD_DISABLE;
  if (HAL_TIM_Base_Init(&htim2) != HAL_OK)
  {
    Error_Handler();
  }
  sClockSourceConfig.ClockSource = TIM_CLOCKSOURCE_INTERNAL;
  if (HAL_TIM_ConfigClockSource(&htim2, &sClockSourceConfig) != HAL_OK)
  {
    Error_Handler();
  }
  sConfig.IC1Polarity = TIM_ICPOLARITY_RISING;
  sConfig.IC1Prescaler = TIM_ICPSC_DIV1;
  sConfig.IC1Filter = M1_HALL_IC_FILTER;
  sConfig.Commutation_Delay = 0;
  if (HAL_TIMEx_HallSensor_Init(&htim2, &sConfig) != HAL_OK)
  {
    Error_Handler();
  }
  sMasterConfig.MasterOutputTrigger = TIM_TRGO_OC2REF;
  sMasterConfig.MasterSlaveMode = TIM_MASTERSLAVEMODE_DISABLE;
  if (HAL_TIMEx_MasterConfigSynchronization(&htim2, &sMasterConfig) != HAL_OK)
  {
    Error_Handler();
  }

}

static void MX_TIM6_Init(void)
{

  TIM_MasterConfigTypeDef sMasterConfig = {0};

  htim6.Instance = TIM6;
  htim6.Init.Prescaler = 90-1;
  htim6.Init.CounterMode = TIM_COUNTERMODE_UP;
  htim6.Init.Period = 40000-1;
  htim6.Init.AutoReloadPreload = TIM_AUTORELOAD_PRELOAD_DISABLE;
  if (HAL_TIM_Base_Init(&htim6) != HAL_OK)
  {
    Error_Handler();
  }
  sMasterConfig.MasterOutputTrigger = TIM_TRGO_RESET;
  sMasterConfig.MasterSlaveMode = TIM_MASTERSLAVEMODE_DISABLE;
  if (HAL_TIMEx_MasterConfigSynchronization(&htim6, &sMasterConfig) != HAL_OK)
  {
    Error_Handler();
  }

}

static void MX_TIM11_Init(void)
{

  htim11.Instance = TIM11;
  htim11.Init.Prescaler = 18-1;
  htim11.Init.CounterMode = TIM_COUNTERMODE_UP;
  htim11.Init.Period = 500-1;
  htim11.Init.ClockDivision = TIM_CLOCKDIVISION_DIV1;
  htim11.Init.AutoReloadPreload = TIM_AUTORELOAD_PRELOAD_DISABLE;
  if (HAL_TIM_Base_Init(&htim11) != HAL_OK)
  {
    Error_Handler();
  }

}

static void MX_TIM14_Init(void)
{

  htim14.Instance = TIM14;
  htim14.Init.Prescaler = 90-1;
  htim14.Init.CounterMode = TIM_COUNTERMODE_UP;
  htim14.Init.Period = 1000-1;
  htim14.Init.ClockDivision = TIM_CLOCKDIVISION_DIV1;
  htim14.Init.AutoReloadPreload = TIM_AUTORELOAD_PRELOAD_DISABLE;
  if (HAL_TIM_Base_Init(&htim14) != HAL_OK)
  {
    Error_Handler();
  }

}

static void MX_DMA_Init(void)
{

  /* DMA controller clock enable */
  __HAL_RCC_DMA2_CLK_ENABLE();
  __HAL_RCC_DMA1_CLK_ENABLE();

  /* DMA interrupt init */
  /* DMA2_Stream2_IRQn interrupt configuration */
  HAL_NVIC_SetPriority(DMA2_Stream2_IRQn, 0, 0);
  HAL_NVIC_EnableIRQ(DMA2_Stream2_IRQn);
}

static void MX_GPIO_Init(void)
{
  GPIO_InitTypeDef GPIO_InitStruct = {0};

  /* GPIO Ports Clock Enable */
  __HAL_RCC_GPIOC_CLK_ENABLE();
  __HAL_RCC_GPIOH_CLK_ENABLE();
  __HAL_RCC_GPIOA_CLK_ENABLE();
  __HAL_RCC_GPIOB_CLK_ENABLE();

  /*Configure GPIO pin Output Level */
  HAL_GPIO_WritePin(GPIOA, GPIO_PIN_4, GPIO_PIN_RESET);

  /*Configure GPIO pin Output Level */
  HAL_GPIO_WritePin(GPIOC, GPIO_PIN_6|M1_PWM_EN_U_Pin|M1_PWM_EN_V_Pin|M1_PWM_EN_W_Pin, GPIO_PIN_RESET);

  /*Configure GPIO pin : PA4 */
  GPIO_InitStruct.Pin = GPIO_PIN_4;
  GPIO_InitStruct.Mode = GPIO_MODE_OUTPUT_OD;
  GPIO_InitStruct.Pull = GPIO_NOPULL;
  GPIO_InitStruct.Speed = GPIO_SPEED_FREQ_LOW;
  HAL_GPIO_Init(GPIOA, &GPIO_InitStruct);

  /*Configure GPIO pin : PC6 */
  GPIO_InitStruct.Pin = GPIO_PIN_6;
  GPIO_InitStruct.Mode = GPIO_MODE_OUTPUT_PP;
  GPIO_InitStruct.Pull = GPIO_NOPULL;
  GPIO_InitStruct.Speed = GPIO_SPEED_FREQ_LOW;
  HAL_GPIO_Init(GPIOC, &GPIO_InitStruct);

  /*Configure GPIO pins : M1_PWM_EN_U_Pin M1_PWM_EN_V_Pin M1_PWM_EN_W_Pin */
  GPIO_InitStruct.Pin = M1_PWM_EN_U_Pin|M1_PWM_EN_V_Pin|M1_PWM_EN_W_Pin;
  GPIO_InitStruct.Mode = GPIO_MODE_OUTPUT_PP;
  GPIO_InitStruct.Pull = GPIO_PULLDOWN;
  GPIO_InitStruct.Speed = GPIO_SPEED_FREQ_HIGH;
  HAL_GPIO_Init(GPIOC, &GPIO_InitStruct);

}

void Error_Handler(void)
{
  /* USER CODE BEGIN Error_Handler_Debug */
  /* User can add his own implementation to report the HAL error return state */
  __disable_irq();
  while (1)
  {
	  NVIC_SystemReset();
  }
  /* USER CODE END Error_Handler_Debug */
}
